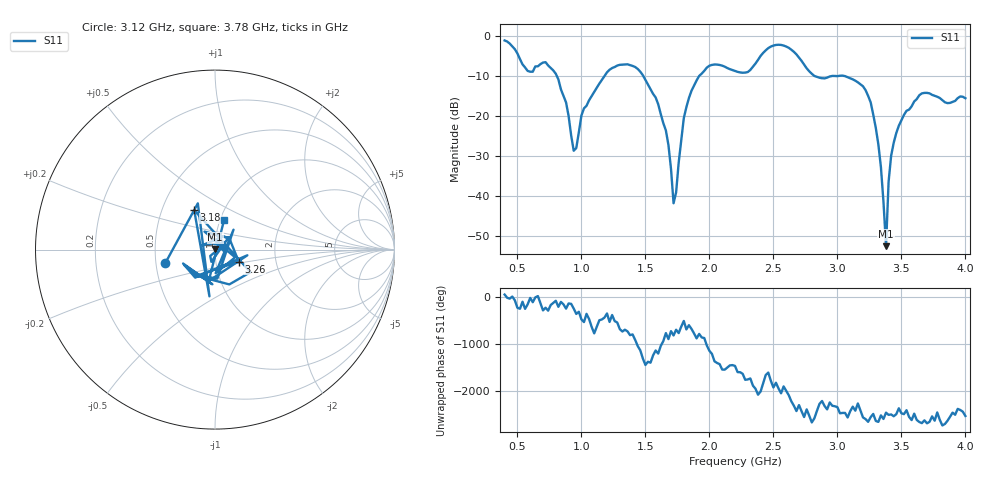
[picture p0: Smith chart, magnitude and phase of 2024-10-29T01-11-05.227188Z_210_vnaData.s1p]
!Created with skrf (http://scikit-rf.org).
# Hz S RI R 50.0
!freq ReS11 ImS11
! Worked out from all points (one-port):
!   181 points, 400 MHz to 4 GHz, reference 50 ohm
!   lowest |S11| = -52.4 dB at 3.38 GHz (marker M1), VSWR 1.00, Z = 50.1 + j0.224 ohm
!   |S11| at or under -10 dB: 807.4 MHz to 1.182 GHz (374.2 MHz wide, 37.6 % of centre); 1.483 GHz to 1.921 GHz (438.4 MHz wide, 25.8 % of centre); 3.048 GHz to end of sweep (the widest 3 of 4)
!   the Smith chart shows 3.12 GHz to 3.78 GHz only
!   S11 on the Smith chart (normalised r, x): 3.12 GHz: 0.56, -0.09; 3.18 GHz: 0.73, +0.34; 3.26 GHz: 1.29, -0.18; 3.78 GHz: 1.04, +0.36
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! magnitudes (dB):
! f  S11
! 400 MHz  -1.2
! 580 MHz  -8.8
! 720 MHz  -6.6
! 860 MHz  -15.0
! 940 MHz  -28.7
! 1.02 GHz  -18.1
! 1.3 GHz  -7.3
! 1.58 GHz  -15.4
! 1.68 GHz  -27.2
! 1.72 GHz  -41.7
! 1.76 GHz  -31.6
! 1.82 GHz  -17.8
! 1.92 GHz  -10.0
! 2.2 GHz  -8.8
! 2.5 GHz  -2.5
! 2.66 GHz  -4.0
! 2.82 GHz  -10.0
! 3.1 GHz  -10.6
! 3.12 GHz  -10.9
! 3.18 GHz  -12.1
! 3.26 GHz  -16.6
! 3.34 GHz  -32.7
! 3.38 GHz  -52.4
! 3.4 GHz  -36.4
! 3.42 GHz  -29.9
! 3.56 GHz  -18.4
! 3.78 GHz  -15.2
! 4 GHz  -15.6
